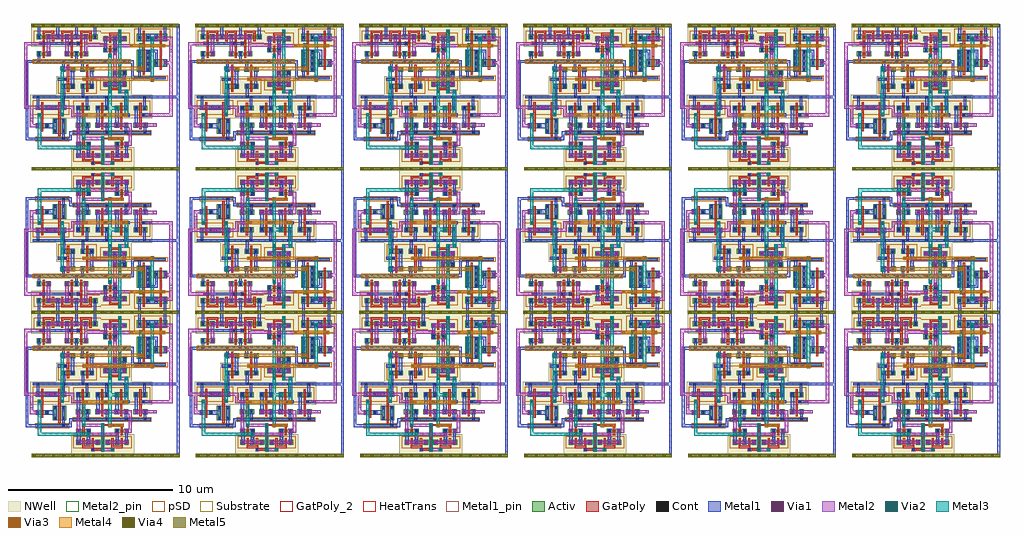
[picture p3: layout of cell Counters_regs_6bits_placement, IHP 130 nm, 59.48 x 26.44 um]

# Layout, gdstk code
from math import pi, radians
import gdstk
lib = gdstk.Library(unit=1e-6, precision=5e-09)
def R(c, l, rs):  # rectangles x0, y0, x1, y1
    for r in rs: c.add(gdstk.rectangle(r[:2], r[2:], *l))
def A(c, l, x, y, w, h, nx, ny, dx, dy):  # array of equal rectangles
    R(c, l, [(x+i*dx, y+j*dy, x+i*dx+w, y+j*dy+h) for i in range(nx) for j in range(ny)])
Activ = (1, 0)
GatPoly = (5, 0)
GatPoly_2 = (5, 2)
Cont = (6, 0)
Metal1 = (8, 0)
Metal1_pin = (8, 2)
Metal2 = (10, 0)
Metal2_pin = (10, 2)
pSD = (14, 0)
Via1 = (19, 0)
Via2 = (29, 0)
Metal3 = (30, 0)
NWell = (31, 0)
Substrate = (40, 0)
Via3 = (49, 0)
Metal4 = (50, 0)
HeatTrans = (51, 0)
Via4 = (66, 0)
Metal5 = (67, 0)

pmos_3_1 = lib.new_cell('pmos$3$1')
R(pmos_3_1, Activ, [(0,0,0.3,0.3), (0,0,0.81,0.45), (0.51,0,0.81,0.3)])
R(pmos_3_1, GatPoly, [(0.34,-0.18,0.47,0.63), (0.34,-0.18,0.47,0.63)])
R(pmos_3_1, Cont, [(0.07,0.145,0.23,0.305), (0.58,0.145,0.74,0.305)])
R(pmos_3_1, Metal1, [(0.07,0,0.23,0.45), (0.07,0,0.23,0.45), (0.58,0,0.74,0.45), (0.58,0,0.74,0.45)])
R(pmos_3_1, pSD, [(-0.18,-0.3,0.99,0.75)])
R(pmos_3_1, NWell, [(-0.31,-0.345,1.12,0.76)])
R(pmos_3_1, Substrate, [(0.51,0,0.81,0.3)])
R(pmos_3_1, HeatTrans, [(0.34,-0.18,0.47,0.63)])
pmos_3_1.add(gdstk.Label('pmos', (0.405,0.225), layer=63, texttype=0))
pmos_3_1.add(gdstk.Label('pmos', (0.405,0.225), layer=51, texttype=0))

nmos_1_1_1 = lib.new_cell('nmos$1$1$1')
R(nmos_1_1_1, Activ, [(0,0,0.3,0.3), (0,0,0.81,1.35), (0.51,0,0.81,0.3)])
R(nmos_1_1_1, GatPoly, [(0.34,-0.18,0.47,1.53)])
R(nmos_1_1_1, GatPoly_2, [(0.34,-0.18,0.47,1.53)])
A(nmos_1_1_1, Cont, 0.07, 0.07, 0.16, 0.16, 1, 4, 0, 0.35)
A(nmos_1_1_1, Cont, 0.58, 0.07, 0.16, 0.16, 1, 4, 0, 0.35)
R(nmos_1_1_1, Metal1, [(0.07,0,0.23,1.35), (0.58,0,0.74,1.35)])
R(nmos_1_1_1, Metal1_pin, [(0.07,0,0.23,1.35), (0.58,0,0.74,1.35)])
R(nmos_1_1_1, HeatTrans, [(0.34,-0.18,0.47,1.53)])
nmos_1_1_1.add(gdstk.Label('nmos', (0.405,0.675), layer=63, texttype=0))
nmos_1_1_1.add(gdstk.Label('nmos', (0.405,0.675), layer=51, texttype=0))

nmos_4_1 = lib.new_cell('nmos$4$1')
R(nmos_4_1, Activ, [(0,0,0.3,0.3), (0,0,0.81,0.45), (0.51,0,0.81,0.3)])
R(nmos_4_1, GatPoly, [(0.34,-0.18,0.47,0.63)])
R(nmos_4_1, GatPoly_2, [(0.34,-0.18,0.47,0.63)])
R(nmos_4_1, Cont, [(0.07,0.145,0.23,0.305), (0.58,0.145,0.74,0.305)])
R(nmos_4_1, Metal1, [(0.07,0,0.23,0.45), (0.58,0,0.74,0.45)])
R(nmos_4_1, Metal1_pin, [(0.07,0,0.23,0.45), (0.58,0,0.74,0.45)])
R(nmos_4_1, HeatTrans, [(0.34,-0.18,0.47,0.63)])
nmos_4_1.add(gdstk.Label('nmos', (0.405,0.225), layer=63, texttype=0))
nmos_4_1.add(gdstk.Label('nmos', (0.405,0.225), layer=51, texttype=0))

nand_d3_1 = lib.new_cell('NAND_D3$1')
R(nand_d3_1, Activ, [(-0.055,-1.08,1.805,-0.92), (0.04,2.105,1.9,2.265)])
R(nand_d3_1, GatPoly, [(1.45,0.31,1.58,1.07), (0.4,0.78,0.53,1.07), (1.58,0.865,1.78,1.065), (0.2,0.875,0.4,1.075)])
R(nand_d3_1, Cont, [(0.13,-1.08,0.29,-0.92), (1.595,0.885,1.755,1.045), (0.22,0.895,0.38,1.055), (0.13,2.105,0.29,2.265), (1.69,2.105,1.85,2.265)])
R(nand_d3_1, Metal1, [(0.13,-1.08,0.29,-0.545), (1.69,-0.21,1.89,0.09), (1.595,0.885,1.755,1.045), (0.22,0.895,0.38,1.055), (0.64,1.25,1.34,1.7), (0.13,1.55,0.29,2.265), (1.69,1.55,1.85,2.265)])
R(nand_d3_1, Metal1_pin, [(0.13,-1.08,0.29,-0.92), (1.595,0.885,1.755,1.045), (0.22,0.895,0.38,1.055), (0.13,2.105,0.29,2.265), (1.69,2.105,1.85,2.265)])
R(nand_d3_1, Metal2, [(1.69,-0.165,2.24,0.035)])
R(nand_d3_1, Metal2_pin, [(2.04,0.565,2.24,0.755)])
R(nand_d3_1, pSD, [(-0.13,-1.155,1.925,-0.855)])
R(nand_d3_1, Via1, [(1.69,-0.16,1.88,0.03), (0.89,1.315,1.08,1.505)])
R(nand_d3_1, NWell, [(-0.25,2.01,2.23,2.315)])
nand_d3_1.add(gdstk.FlexPath([(1.26,0.13),(1.26,0.635),(0.72,0.635),(0.72,0.44)], 0.16, ends="flush", simple_path=True, layer=8, datatype=0))  # Metal1
nand_d3_1.add(gdstk.FlexPath([(0.885,1.41),(2.14,1.41),(2.14,-0.165)], 0.2, ends="flush", simple_path=True, layer=10, datatype=0))  # Metal2
nand_d3_1.add(gdstk.Reference(pmos_3_1, (1.92,1.25), rotation=pi, x_reflection=True))
nand_d3_1.add(gdstk.Reference(pmos_3_1, (0.87,1.25), rotation=pi, x_reflection=True))
nand_d3_1.add(gdstk.Reference(nmos_1_1_1, (0.87,-0.635), rotation=pi, x_reflection=True))
nand_d3_1.add(gdstk.Reference(nmos_4_1, (1.92,-0.31), rotation=pi, x_reflection=True))
nand_d3_1.add(gdstk.Label('VA', (1.67,0.98), layer=8, texttype=2))
nand_d3_1.add(gdstk.Label('VB', (0.305,0.99), layer=8, texttype=2))
nand_d3_1.add(gdstk.Label('VDD', (1.715,2.225), layer=8, texttype=2))
nand_d3_1.add(gdstk.Label('VDD', (0.155,2.225), layer=8, texttype=2))
nand_d3_1.add(gdstk.Label('VSS', (0.2,-0.955), layer=8, texttype=2))
nand_d3_1.add(gdstk.Label('VOUT', (2.185,0.7), layer=10, texttype=2))
nand_d3_1.add(gdstk.Label('VB', (0.33,1), layer=8, texttype=25))
nand_d3_1.add(gdstk.Label('VA', (1.7,0.94), layer=8, texttype=25))

nmos_3_1 = lib.new_cell('nmos$3$1')
R(nmos_3_1, Activ, [(0,-0.05,0.3,0.25), (0.57,-0.05,0.87,0.25), (0,0.025,0.87,0.175)])
R(nmos_3_1, GatPoly, [(0.37,-0.155,0.5,0.585)])
R(nmos_3_1, GatPoly_2, [(0.37,-0.155,0.5,0.585)])
R(nmos_3_1, Cont, [(0.07,0.02,0.23,0.18), (0.64,0.02,0.8,0.18)])
R(nmos_3_1, Metal1, [(0.07,-0.03,0.23,0.23), (0.64,-0.03,0.8,0.23)])
R(nmos_3_1, Metal1_pin, [(0.07,-0.03,0.23,0.23), (0.64,-0.03,0.8,0.23)])
R(nmos_3_1, HeatTrans, [(0.37,-0.155,0.5,0.585)])
nmos_3_1.add(gdstk.Label('nmos', (0.435,0.1), layer=63, texttype=0))
nmos_3_1.add(gdstk.Label('nmos', (0.435,0.1), layer=51, texttype=0))

pmos_1_1 = lib.new_cell('pmos$1$1')
R(pmos_1_1, Activ, [(0,0.205,0.81,0.505), (0,0.205,0.3,0.505), (0.51,0.205,0.81,0.505)])
R(pmos_1_1, GatPoly, [(0.34,0.025,0.47,0.685), (0.34,0.025,0.47,0.685)])
R(pmos_1_1, Cont, [(0.07,0.275,0.23,0.435), (0.58,0.275,0.74,0.435)])
R(pmos_1_1, Metal1, [(0.07,0.205,0.23,0.505), (0.07,0.205,0.23,0.505), (0.58,0.205,0.74,0.505), (0.58,0.205,0.74,0.505)])
R(pmos_1_1, pSD, [(-0.18,-0.095,0.99,0.805)])
R(pmos_1_1, NWell, [(-0.31,-0.26,1.12,0.815)])
R(pmos_1_1, Substrate, [(0.51,0.205,0.81,0.505)])
R(pmos_1_1, HeatTrans, [(0.34,0.025,0.47,0.685)])
pmos_1_1.add(gdstk.Label('pmos', (0.405,0.355), layer=63, texttype=0))
pmos_1_1.add(gdstk.Label('pmos', (0.405,0.355), layer=51, texttype=0))

inv_d1_1 = lib.new_cell('INV_D1$1')
R(inv_d1_1, Activ, [(-0.63,-1.05,0.545,-0.89), (-0.61,1.125,0.55,1.285)])
R(inv_d1_1, GatPoly, [(-0.075,-0.02,0.055,0.21), (-0.275,0.02,-0.075,0.22)])
R(inv_d1_1, Cont, [(-0.375,-1.05,-0.215,-0.89), (-0.25,0.04,-0.09,0.2), (-0.345,1.125,-0.185,1.285)])
R(inv_d1_1, Metal1, [(-0.375,-1.05,-0.215,-0.635), (0.15,-0.64,0.355,0.69), (-0.255,0.035,-0.085,0.205), (-0.345,0.69,-0.185,1.285)])
R(inv_d1_1, Metal1_pin, [(-0.375,-1.05,-0.215,-0.89), (-0.345,1.125,-0.185,1.285)])
R(inv_d1_1, pSD, [(-0.67,-1.11,0.6,-0.83)])
R(inv_d1_1, NWell, [(-0.725,1,0.705,1.335)])
inv_d1_1.add(gdstk.Reference(nmos_3_1, (-0.445,-0.605)))
inv_d1_1.add(gdstk.Reference(pmos_1_1, (-0.415,0.185)))
inv_d1_1.add(gdstk.Label('VDD', (-0.215,1.26), layer=8, texttype=2))
inv_d1_1.add(gdstk.Label('VSS', (-0.26,-0.915), layer=8, texttype=2))
inv_d1_1.add(gdstk.Label('VIN', (-0.17,0.135), layer=8, texttype=25))
inv_d1_1.add(gdstk.Label('VOUT', (0.255,0.145), layer=8, texttype=25))

nmos_6 = lib.new_cell('nmos$6')
R(nmos_6, Activ, [(0,0.025,0.3,0.325), (0.57,0.025,0.87,0.325), (0,0.1,0.87,0.25)])
R(nmos_6, GatPoly, [(0.37,-0.08,0.5,0.43)])
R(nmos_6, GatPoly_2, [(0.37,-0.08,0.5,0.43)])
R(nmos_6, Cont, [(0.07,0.095,0.23,0.255), (0.64,0.095,0.8,0.255)])
R(nmos_6, Metal1, [(0.07,0.045,0.23,0.305), (0.64,0.045,0.8,0.305)])
R(nmos_6, Metal1_pin, [(0.07,0.045,0.23,0.305), (0.64,0.045,0.8,0.305)])
R(nmos_6, HeatTrans, [(0.37,-0.08,0.5,0.43)])
nmos_6.add(gdstk.Label('nmos', (0.435,0.175), layer=63, texttype=0))
nmos_6.add(gdstk.Label('nmos', (0.435,0.175), layer=51, texttype=0))

pmos_5 = lib.new_cell('pmos$5')
R(pmos_5, Activ, [(0,-0.04,0.3,0.26), (0.57,-0.04,0.87,0.26), (0,0.035,0.87,0.185)])
R(pmos_5, GatPoly, [(0.37,-0.145,0.5,0.365), (0.37,-0.145,0.5,0.365)])
R(pmos_5, Cont, [(0.07,0.03,0.23,0.19), (0.64,0.03,0.8,0.19)])
R(pmos_5, Metal1, [(0.07,-0.02,0.23,0.24), (0.07,-0.02,0.23,0.24), (0.64,-0.02,0.8,0.24), (0.64,-0.02,0.8,0.24)])
R(pmos_5, pSD, [(-0.18,-0.265,1.05,0.485)])
R(pmos_5, NWell, [(-0.31,-0.38,1.18,0.545)])
R(pmos_5, Substrate, [(0.57,-0.04,0.87,0.26)])
R(pmos_5, HeatTrans, [(0.37,-0.145,0.5,0.365)])
pmos_5.add(gdstk.Label('pmos', (0.435,0.11), layer=63, texttype=0))
pmos_5.add(gdstk.Label('pmos', (0.435,0.11), layer=51, texttype=0))

tg_2c_1 = lib.new_cell('TG_2C$1')
R(tg_2c_1, Activ, [(0.15,-0.17,1.91,-0.01), (0.03,2.005,2.035,2.165)])
R(tg_2c_1, GatPoly, [(0.64,0.15,0.84,0.35), (1.225,1.645,1.425,1.845)])
R(tg_2c_1, Cont, [(0.37,-0.17,0.53,-0.01), (0.66,0.17,0.82,0.33), (1.245,1.665,1.405,1.825), (0.36,2.005,0.52,2.165)])
R(tg_2c_1, Metal1, [(0.15,-0.17,1.91,-0.01), (0.66,0.17,0.82,0.33), (0.36,1.195,0.56,1.395), (1.5,1.195,1.7,1.395), (1.245,1.665,1.405,1.825), (0.03,2.005,2.35,2.165)])
R(tg_2c_1, Metal1_pin, [(0.355,-0.17,0.52,-0.01), (0.66,0.17,0.82,0.33), (0.95,0.97,1.11,1.125), (1.245,1.665,1.405,1.825), (0.355,2.005,0.53,2.165)])
R(tg_2c_1, Metal2, [(0.36,1.195,1.7,1.395)])
R(tg_2c_1, Metal2_pin, [(0.36,1.195,0.56,1.395)])
R(tg_2c_1, pSD, [(0.09,-0.23,1.985,0.05)])
R(tg_2c_1, Via1, [(0.365,1.2,0.555,1.39), (1.505,1.2,1.695,1.39)])
R(tg_2c_1, NWell, [(0,1.66,2.06,2.215)])
tg_2c_1.add(gdstk.FlexPath([(0.745,1.48),(0.745,1.58),(1.315,1.58),(1.315,1.48)], 0.13, ends="flush", simple_path=True, layer=5, datatype=0))  # GatPoly
tg_2c_1.add(gdstk.FlexPath([(0.46,1.425),(0.46,0.735)], 0.16, ends="flush", simple_path=True, layer=8, datatype=0))  # Metal1
tg_2c_1.add(gdstk.FlexPath([(1.03,1.425),(1.03,0.735)], 0.16, ends="flush", simple_path=True, layer=8, datatype=0))  # Metal1
tg_2c_1.add(gdstk.Reference(nmos_6, (0.31,0.43)))
tg_2c_1.add(gdstk.Reference(pmos_5, (0.31,1.185)))
tg_2c_1.add(gdstk.Reference(pmos_5, (0.88,1.185)))
tg_2c_1.add(gdstk.Label('VOUT', (1.065,1.07), layer=8, texttype=2))
tg_2c_1.add(gdstk.Label('VSS', (0.455,-0.06), layer=8, texttype=2))
tg_2c_1.add(gdstk.Label('VDD', (0.465,2.125), layer=8, texttype=2))
tg_2c_1.add(gdstk.Label('VIN', (0.505,1.36), layer=10, texttype=2))
tg_2c_1.add(gdstk.Label('VOUT', (1.065,1.015), layer=8, texttype=25))
tg_2c_1.add(gdstk.Label('VIN', (0.52,1.29), layer=10, texttype=25))

nmos_5_1 = lib.new_cell('nmos$5$1')
R(nmos_5_1, Activ, [(0,0,0.3,0.3), (0.57,0,0.87,0.3), (0,0.075,0.87,0.225)])
R(nmos_5_1, GatPoly, [(0.37,-0.105,0.5,0.58)])
R(nmos_5_1, GatPoly_2, [(0.37,-0.105,0.5,0.58)])
R(nmos_5_1, Cont, [(0.07,0.07,0.23,0.23), (0.64,0.07,0.8,0.23)])
R(nmos_5_1, Metal1, [(0.07,0.02,0.23,0.28), (0.64,0.02,0.8,0.28)])
R(nmos_5_1, Metal1_pin, [(0.07,0.02,0.23,0.28), (0.64,0.02,0.8,0.28)])
R(nmos_5_1, HeatTrans, [(0.37,-0.105,0.5,0.58)])
nmos_5_1.add(gdstk.Label('nmos', (0.435,0.15), layer=63, texttype=0))
nmos_5_1.add(gdstk.Label('nmos', (0.435,0.15), layer=51, texttype=0))

pmos_4_1 = lib.new_cell('pmos$4$1')
R(pmos_4_1, Activ, [(0,0.175,0.3,0.475), (0.57,0.175,0.87,0.475), (0,0.25,0.87,0.4)])
R(pmos_4_1, GatPoly, [(0.37,0.07,0.5,0.58), (0.37,0.07,0.5,0.58)])
R(pmos_4_1, Cont, [(0.07,0.245,0.23,0.405), (0.64,0.245,0.8,0.405)])
R(pmos_4_1, Metal1, [(0.07,0.195,0.23,0.455), (0.07,0.195,0.23,0.455), (0.64,0.195,0.8,0.455), (0.64,0.195,0.8,0.455)])
R(pmos_4_1, pSD, [(-0.18,-0.05,1.05,0.7)])
R(pmos_4_1, NWell, [(-0.31,-0.275,1.18,0.845)])
R(pmos_4_1, Substrate, [(0.57,0.175,0.87,0.475)])
R(pmos_4_1, HeatTrans, [(0.37,0.07,0.5,0.58)])
pmos_4_1.add(gdstk.Label('pmos', (0.435,0.325), layer=63, texttype=0))
pmos_4_1.add(gdstk.Label('pmos', (0.435,0.325), layer=51, texttype=0))

inv_1 = lib.new_cell('INV$1')
R(inv_1, Activ, [(-0.6,-1.01,1.235,-0.85), (-0.6,1.165,1.2,1.325)])
R(inv_1, GatPoly, [(-0.045,-0.035,0.085,0.31), (-0.045,0.82,0.655,0.95)])
R(inv_1, GatPoly_2, [(-0.045,0.105,0.085,0.255)])
R(inv_1, Cont, [(-0.345,-1.01,-0.185,-0.85), (-0.345,1.165,-0.185,1.325), (0.795,1.165,0.955,1.325)])
R(inv_1, Metal1, [(-0.345,-1.01,-0.185,-0.595), (0.205,-0.595,0.405,-0.335), (-0.345,0.435,-0.185,1.325), (0.205,0.435,0.405,0.695), (0.795,0.435,0.955,1.325)])
R(inv_1, Metal1_pin, [(-0.345,-1.01,-0.185,-0.85), (-0.345,1.165,-0.185,1.325), (0.795,1.165,0.955,1.325)])
R(inv_1, Metal2, [(0.205,-0.57,0.405,0.665)])
R(inv_1, Metal2_pin, [(0.205,0.08,0.405,0.265)])
R(inv_1, pSD, [(-0.64,-1.07,1.29,-0.79)])
R(inv_1, Via1, [(0.205,-0.56,0.395,-0.37), (0.21,0.47,0.4,0.66)])
R(inv_1, NWell, [(-0.725,1.085,1.335,1.375)])
inv_1.add(gdstk.Reference(nmos_5_1, (-0.415,-0.615)))
r = gdstk.Reference(pmos_4_1, (-0.415,0.24)); r.repetition = gdstk.Repetition(2, 1, v1=(0.57,0), v2=(0,0)); inv_1.add(r)

inv_d3_1 = lib.new_cell('INV_D3$1')
R(inv_d3_1, GatPoly, [(-1.05,0.2,-0.85,0.4), (0.66,0.2,0.86,0.4), (1.23,0.2,1.43,0.4)])
R(inv_d3_1, Cont, [(-1.15,-0.865,-0.99,-0.705), (-1.03,0.22,-0.87,0.38), (0.68,0.22,0.84,0.38), (1.25,0.22,1.41,0.38)])
R(inv_d3_1, Metal1, [(-1.03,0.22,1.41,0.38), (-1.03,0.22,-0.87,0.38), (0.68,0.22,0.84,0.38), (1.25,0.22,1.41,0.38)])
R(inv_d3_1, Metal1_pin, [(-1.15,-0.865,-0.99,-0.705), (-1.03,0.22,-0.87,0.38), (0.68,0.22,0.84,0.38), (1.25,0.22,1.41,0.38), (-1.15,1.31,-0.99,1.47)])
R(inv_d3_1, Metal2, [(-0.6,0.61,1.88,0.81)])
r = gdstk.Reference(inv_1, (-0.805,0.145)); r.repetition = gdstk.Repetition(2, 1, v1=(2.28,0), v2=(0,0)); inv_d3_1.add(r)
inv_d3_1.add(gdstk.Reference(inv_1, (0.945,0.145), rotation=pi, x_reflection=True))
inv_d3_1.add(gdstk.Label('VIN', (-0.92,0.33), layer=8, texttype=2))
inv_d3_1.add(gdstk.Label('VIN', (-0.92,0.33), layer=8, texttype=2))
inv_d3_1.add(gdstk.Label('VIN', (-0.92,0.33), layer=8, texttype=2))
inv_d3_1.add(gdstk.Label('VDD', (-1.02,1.445), layer=8, texttype=2))
inv_d3_1.add(gdstk.Label('VSS', (-1.035,-0.73), layer=8, texttype=2))
inv_d3_1.add(gdstk.Label('VOUT', (1.83,0.365), layer=10, texttype=2))

via1_constraint_1 = lib.new_cell('VIA1_constraint$1')
R(via1_constraint_1, Metal1, [(-0.005,-0.005,0.195,0.195)])
R(via1_constraint_1, Metal2, [(-0.005,-0.005,0.195,0.195)])
R(via1_constraint_1, Via1, [(0,0,0.19,0.19)])

via2_constraint_1 = lib.new_cell('VIA2_constraint$1')
R(via2_constraint_1, Metal2, [(0.04,-0.57,0.24,-0.37)])
R(via2_constraint_1, Via2, [(0.045,-0.565,0.235,-0.375)])
R(via2_constraint_1, Metal3, [(0.04,-0.57,0.24,-0.37)])

via3_constraint_1 = lib.new_cell('VIA3_constraint$1')
R(via3_constraint_1, Metal3, [(-0.005,-0.005,0.195,0.195)])
R(via3_constraint_1, Via3, [(0,0,0.19,0.19)])
R(via3_constraint_1, Metal4, [(-0.005,-0.005,0.195,0.195)])

half_b_1 = lib.new_cell('HALF_B$1')
R(half_b_1, Metal1, [(0.115,-4.325,4.09,-4.165), (6.405,-4.325,8.28,-4.165), (4.995,-3.585,5.195,-2.635), (0.105,-2.15,4.21,-1.99), (4.995,-1.505,5.195,-0.55), (5.56,-1.505,5.76,-0.555), (6.31,-1.14,8.19,-0.98), (2.8,0.025,4.09,0.185)])
R(half_b_1, Metal2, [(3.21,-3.165,4.615,-2.965), (4.985,-3.125,6.205,-2.925), (4.995,-2.715,5.195,-1.245), (3.545,-1.13,5.76,-0.93)])
R(half_b_1, Metal3, [(5.28,-4.01,5.48,-1.625), (7.255,-3.58,7.455,-0.84), (4.695,-2.53,4.895,-0.13), (4.695,-2.53,4.895,-0.13)])
R(half_b_1, Metal4, [(5.98,-3.125,8.15,-2.925), (3.145,-1.08,7.49,-0.88)])
half_b_1.add(gdstk.Reference(nand_d3_1, (6.37,-2.06), x_reflection=True))
half_b_1.add(gdstk.Reference(inv_d1_1, (3.415,-1.1)))
half_b_1.add(gdstk.Reference(tg_2c_1, (4.055,-2.16), x_reflection=True))
half_b_1.add(gdstk.Reference(tg_2c_1, (6.12,-1.98), rotation=pi, x_reflection=True))
half_b_1.add(gdstk.Reference(inv_d3_1, (1.53,-2.855), x_reflection=True))
half_b_1.add(gdstk.Reference(via1_constraint_1, (5.475,-4), rotation=pi, x_reflection=True))
half_b_1.add(gdstk.Reference(via1_constraint_1, (5.19,-2.485), rotation=pi))
half_b_1.add(gdstk.Reference(via1_constraint_1, (4.415,-3.16)))
half_b_1.add(gdstk.Reference(via1_constraint_1, (3.57,-1.125)))
half_b_1.add(gdstk.Reference(via2_constraint_1, (4.655,0.235)))
half_b_1.add(gdstk.Reference(via1_constraint_1, (5.475,-1.825), rotation=pi, x_reflection=True))
half_b_1.add(gdstk.Reference(via1_constraint_1, (4.7,-2.505)))
half_b_1.add(gdstk.Reference(via2_constraint_1, (4.655,-1.94)))
half_b_1.add(gdstk.Reference(via2_constraint_1, (4.655,0.235)))
half_b_1.add(gdstk.Reference(via1_constraint_1, (4.7,-2.505)))
half_b_1.add(gdstk.Reference(via2_constraint_1, (4.655,-1.94)))
half_b_1.add(gdstk.Reference(via2_constraint_1, (7.215,-3.01)))
half_b_1.add(gdstk.Reference(via1_constraint_1, (3.15,-1.075)))
half_b_1.add(gdstk.Reference(via2_constraint_1, (3.105,-0.51)))
half_b_1.add(gdstk.Reference(via3_constraint_1, (3.15,-1.075)))
half_b_1.add(gdstk.Reference(via3_constraint_1, (7.26,-1.07)))
half_b_1.add(gdstk.Reference(via1_constraint_1, (5.19,-1.27), rotation=pi))
half_b_1.add(gdstk.Reference(via1_constraint_1, (5.565,-1.125)))
half_b_1.add(gdstk.Reference(via1_constraint_1, (4.7,-0.33)))
half_b_1.add(gdstk.Reference(via2_constraint_1, (5.24,-1.26)))
half_b_1.add(gdstk.Reference(via2_constraint_1, (5.24,-3.435)))
half_b_1.add(gdstk.Reference(via1_constraint_1, (5,-3.12)))
half_b_1.add(gdstk.Reference(via2_constraint_1, (5.955,-2.555)))
half_b_1.add(gdstk.Reference(via3_constraint_1, (6,-3.12)))
half_b_1.add(gdstk.Reference(via1_constraint_1, (7.955,-3.12)))
half_b_1.add(gdstk.Reference(via2_constraint_1, (7.91,-2.555)))
half_b_1.add(gdstk.Reference(via3_constraint_1, (7.955,-3.12)))

pmos_2_1 = lib.new_cell('pmos$2$1')
R(pmos_2_1, Activ, [(0,0,0.81,0.3), (0,0,0.3,0.3), (0.51,0,0.81,0.3)])
R(pmos_2_1, GatPoly, [(0.34,-0.18,0.47,0.48), (0.34,-0.18,0.47,0.48)])
R(pmos_2_1, Cont, [(0.07,0.07,0.23,0.23), (0.58,0.07,0.74,0.23)])
R(pmos_2_1, Metal1, [(0.07,0,0.23,0.3), (0.07,0,0.23,0.3), (0.58,0,0.74,0.3), (0.58,0,0.74,0.3)])
R(pmos_2_1, pSD, [(-0.18,-0.3,0.99,0.6)])
R(pmos_2_1, NWell, [(-0.31,-0.31,1.12,0.61)])
R(pmos_2_1, Substrate, [(0.51,0,0.81,0.3)])
R(pmos_2_1, HeatTrans, [(0.34,-0.18,0.47,0.48)])
pmos_2_1.add(gdstk.Label('pmos', (0.405,0.15), layer=63, texttype=0))
pmos_2_1.add(gdstk.Label('pmos', (0.405,0.15), layer=51, texttype=0))

nmos_1_2 = lib.new_cell('nmos$1$2')
R(nmos_1_2, Activ, [(0,0,0.81,0.9), (0,0,0.3,0.3), (0.51,0,0.81,0.3)])
R(nmos_1_2, GatPoly, [(0.34,-0.18,0.47,1.08)])
R(nmos_1_2, GatPoly_2, [(0.34,-0.18,0.47,1.08)])
R(nmos_1_2, Cont, [(0.07,0.07,0.23,0.23), (0.58,0.07,0.74,0.23), (0.07,0.67,0.23,0.83), (0.58,0.67,0.74,0.83)])
R(nmos_1_2, Metal1, [(0.07,0,0.23,0.9), (0.58,0,0.74,0.9)])
R(nmos_1_2, Metal1_pin, [(0.07,0,0.23,0.9), (0.58,0,0.74,0.9)])
R(nmos_1_2, HeatTrans, [(0.34,-0.18,0.47,1.08)])
nmos_1_2.add(gdstk.Label('nmos', (0.405,0.45), layer=63, texttype=0))
nmos_1_2.add(gdstk.Label('nmos', (0.405,0.45), layer=51, texttype=0))

nmos_2_1 = lib.new_cell('nmos$2$1')
R(nmos_2_1, Activ, [(0,0,0.81,0.3), (0,0,0.3,0.3), (0.51,0,0.81,0.3)])
R(nmos_2_1, GatPoly, [(0.34,-0.18,0.47,0.48)])
R(nmos_2_1, GatPoly_2, [(0.34,-0.18,0.47,0.48)])
R(nmos_2_1, Cont, [(0.07,0.07,0.23,0.23), (0.58,0.07,0.74,0.23)])
R(nmos_2_1, Metal1, [(0.07,0,0.23,0.3), (0.58,0,0.74,0.3)])
R(nmos_2_1, Metal1_pin, [(0.07,0,0.23,0.3), (0.58,0,0.74,0.3)])
R(nmos_2_1, HeatTrans, [(0.34,-0.18,0.47,0.48)])
nmos_2_1.add(gdstk.Label('nmos', (0.405,0.15), layer=63, texttype=0))
nmos_2_1.add(gdstk.Label('nmos', (0.405,0.15), layer=51, texttype=0))

nand_d2_1 = lib.new_cell('NAND_D2$1')
R(nand_d2_1, Activ, [(-0.055,-0.595,1.805,-0.435), (0.04,1.955,1.9,2.115)])
R(nand_d2_1, GatPoly, [(1.45,0.44,1.58,1.07), (0.4,0.78,0.53,1.07), (1.58,0.865,1.78,1.065), (0.2,0.875,0.4,1.075)])
R(nand_d2_1, Cont, [(0.13,-0.595,0.29,-0.435), (1.595,0.885,1.755,1.045), (0.22,0.895,0.38,1.055), (0.13,1.955,0.29,2.115), (1.69,1.955,1.85,2.115)])
R(nand_d2_1, Metal1, [(-0.055,-0.595,1.805,-0.435), (0.13,-0.595,0.29,-0.185), (0.64,0.14,1.34,0.44), (1.69,0.14,1.89,0.44), (1.595,0.885,1.755,1.045), (0.22,0.895,0.38,1.055), (0.64,1.25,1.34,1.55), (0.13,1.55,0.29,2.115), (1.69,1.55,1.85,2.115)])
R(nand_d2_1, Metal1_pin, [(0.13,-0.595,0.29,-0.435), (1.595,0.885,1.755,1.045), (0.22,0.895,0.38,1.055), (0.13,1.955,0.29,2.115), (1.69,1.955,1.85,2.115)])
R(nand_d2_1, Metal2, [(1.69,0.185,2.27,0.385)])
R(nand_d2_1, Metal2_pin, [(2.07,0.57,2.27,0.76)])
R(nand_d2_1, pSD, [(-0.13,-0.67,1.925,-0.37)])
R(nand_d2_1, Via1, [(1.69,0.19,1.88,0.38), (0.89,1.315,1.08,1.505)])
R(nand_d2_1, NWell, [(-0.25,1.86,2.23,2.165)])
nand_d2_1.add(gdstk.FlexPath([(0.885,1.41),(2.17,1.41),(2.17,0.185)], 0.2, ends="flush", simple_path=True, layer=10, datatype=0))  # Metal2
nand_d2_1.add(gdstk.Reference(pmos_2_1, (1.92,1.25), rotation=pi, x_reflection=True))
nand_d2_1.add(gdstk.Reference(pmos_2_1, (0.87,1.25), rotation=pi, x_reflection=True))
nand_d2_1.add(gdstk.Reference(nmos_1_2, (0.87,-0.185), rotation=pi, x_reflection=True))
nand_d2_1.add(gdstk.Reference(nmos_2_1, (1.92,0.14), rotation=pi, x_reflection=True))
nand_d2_1.add(gdstk.Label('VA', (1.665,1.02), layer=8, texttype=2))
nand_d2_1.add(gdstk.Label('VB', (0.32,0.99), layer=8, texttype=2))
nand_d2_1.add(gdstk.Label('VDD', (1.715,2.075), layer=8, texttype=2))
nand_d2_1.add(gdstk.Label('VDD', (0.155,2.075), layer=8, texttype=2))
nand_d2_1.add(gdstk.Label('VSS', (0.2,-0.47), layer=8, texttype=2))
nand_d2_1.add(gdstk.Label('VOUT', (2.215,0.705), layer=10, texttype=2))
nand_d2_1.add(gdstk.Label('VA', (1.67,0.9), layer=8, texttype=25))
nand_d2_1.add(gdstk.Label('VB', (0.28,0.92), layer=8, texttype=25))

half_a_1 = lib.new_cell('HALF_A$1')
R(half_a_1, Metal1, [(7.845,4.825,8.045,5.775), (9.605,4.825,9.805,5.775), (10.19,4.825,10.405,5.775), (7.045,6.26,10.655,6.42), (8.315,7.33,8.79,7.53), (8.26,8.435,12.915,8.595)])
R(half_a_1, Metal2, [(8.14,4.4,8.935,4.6), (7.845,5.345,9.805,5.545), (10.205,5.52,10.41,6.925), (8.735,5.9,10.095,6.1), (9.74,7.33,10.76,7.53), (10.56,7.33,10.76,7.99), (10.56,7.79,11.895,7.99)])
R(half_a_1, Metal3, [(8.735,4.4,8.935,6.12), (9.605,5.345,12.79,5.545), (12.59,5.345,12.79,7.545)])
half_a_1.add(gdstk.FlexPath([(7.755,6),(8.835,6),(8.83,4.505),(9.325,4.505)], 0.1, ends="flush", simple_path=True, layer=5, datatype=0))  # GatPoly
half_a_1.add(gdstk.FlexPath([(7.155,5.545),(7.155,6.815),(9.235,6.815)], 0.2, ends="flush", simple_path=True, layer=10, datatype=0))  # Metal2
half_a_1.add(gdstk.Reference(inv_d1_1, (8.88,7.31)))
half_a_1.add(gdstk.Reference(tg_2c_1, (6.93,6.25), x_reflection=True))
half_a_1.add(gdstk.Reference(tg_2c_1, (10.75,6.25), rotation=pi))
half_a_1.add(gdstk.Reference(nand_d2_1, (11.01,6.48)))
half_a_1.add(gdstk.Reference(via1_constraint_1, (9.61,5.54), x_reflection=True))
half_a_1.add(gdstk.Reference(via1_constraint_1, (8.16,4.595), x_reflection=True))
half_a_1.add(gdstk.Reference(via1_constraint_1, (9.915,6.095), x_reflection=True))
half_a_1.add(gdstk.Reference(via2_constraint_1, (8.69,4.025), x_reflection=True))
half_a_1.add(gdstk.Reference(via2_constraint_1, (8.695,5.53), x_reflection=True))
half_a_1.add(gdstk.Reference(via1_constraint_1, (7.85,5.54), x_reflection=True))
half_a_1.add(gdstk.Reference(via1_constraint_1, (9.035,6.91), x_reflection=True))
half_a_1.add(gdstk.Reference(via1_constraint_1, (7.29,5.55)))
half_a_1.add(gdstk.Reference(via1_constraint_1, (9.745,7.335)))
half_a_1.add(gdstk.Reference(inv_d1_1, (10.055,7.31)))
half_a_1.add(gdstk.Reference(via1_constraint_1, (10.215,6.48)))
half_a_1.add(gdstk.Reference(via1_constraint_1, (10.205,5.555)))
half_a_1.add(gdstk.Reference(via2_constraint_1, (9.565,5.915)))
half_a_1.add(gdstk.Reference(via2_constraint_1, (12.55,7.915)))
half_a_1.add(gdstk.Reference(via1_constraint_1, (12.595,7.35)))

ff_d_placement_1 = lib.new_cell('FF_D_placement$1')
ff_d_placement_1.add(gdstk.Reference(half_b_1, (6.22,0.005), x_reflection=True))
ff_d_placement_1.add(gdstk.Reference(inv_d1_1, (8.46,1.105), x_reflection=True))
ff_d_placement_1.add(gdstk.Reference(inv_d1_1, (11.685,-1.305), rotation=pi, x_reflection=True))
ff_d_placement_1.add(gdstk.Reference(half_a_1, (19.4,-8.615), rotation=pi, x_reflection=True))
ff_d_placement_1.add(gdstk.Reference(inv_d1_1, (12.855,-1.305), rotation=pi, x_reflection=True))

ff_d_routed_1 = lib.new_cell('FF_D_routed$1')
R(ff_d_routed_1, Activ, [(6.315,-0.18,12.31,-0.02), (6.335,4.17,14.615,4.33)])
R(ff_d_routed_1, Metal1, [(12.355,-2.355,13.53,-2.195), (11.76,-1.285,12.215,-1.085), (12.945,-1.285,13.565,-1.085), (11.775,-1.265,12.21,-1.105), (6.3,-0.18,13.455,-0.02), (6.335,4.17,14.82,4.33)])
R(ff_d_routed_1, Metal2, [(11.915,-3.07,12.345,-2.87), (12.5,-1.9,13.845,-1.7), (13.365,-1.285,14.83,-1.085), (14.63,-1.285,14.83,2.1), (5.765,-0.825,6.7,-0.625), (5.77,-0.825,5.97,3.255), (11.5,0.135,12.105,0.335), (7.97,1.545,8.815,1.745), (5.77,3.055,6.9,3.255)])
R(ff_d_routed_1, Metal3, [(10.915,-2.735,11.115,-0.665), (9.29,-2.715,9.49,-1.085), (11.905,-1.31,12.105,0.33), (7.99,-1.26,8.19,1.79), (11.5,0.135,11.7,1.63)])
R(ff_d_routed_1, Metal4, [(10.9,-2.715,11.83,-2.515), (9.29,-1.295,12.1,-1.095), (8.615,1.54,12.995,1.75)])
ff_d_routed_1.add(gdstk.FlexPath([(8.445,-2.65),(8.605,-2.65),(8.605,-2.275),(8.755,-2.275)], 0.16, ends="flush", simple_path=True, layer=8, datatype=0))  # Metal1
ff_d_routed_1.add(gdstk.FlexPath([(12.53,1.065),(12.375,1.065),(12.375,2.075),(12.17,2.075)], 0.16, ends="flush", simple_path=True, layer=8, datatype=0))  # Metal1
ff_d_routed_1.add(gdstk.FlexPath([(12.89,1.49),(12.89,3.18)], 0.2, ends="flush", simple_path=True, layer=30, datatype=0))  # Metal3
ff_d_routed_1.add(gdstk.FlexPath([(11.015,0.135),(11.015,-0.765),(11.53,-0.765)], 0.2, ends="flush", simple_path=True, layer=30, datatype=0))  # Metal3
ff_d_routed_1.add(gdstk.Reference(ff_d_placement_1, (0,0)))
ff_d_routed_1.add(gdstk.Reference(via1_constraint_1, (6.705,3.06)))
ff_d_routed_1.add(gdstk.Reference(via1_constraint_1, (13.56,-1.28), rotation=pi, x_reflection=True))
ff_d_routed_1.add(gdstk.Reference(via1_constraint_1, (12.505,-1.895)))
ff_d_routed_1.add(gdstk.Reference(via1_constraint_1, (8.62,1.55)))
ff_d_routed_1.add(gdstk.Reference(via2_constraint_1, (8.575,2.115)))
ff_d_routed_1.add(gdstk.Reference(via3_constraint_1, (8.62,1.55)))
ff_d_routed_1.add(gdstk.Reference(via1_constraint_1, (12.795,2.945)))
ff_d_routed_1.add(gdstk.Reference(via3_constraint_1, (12.795,1.55)))
ff_d_routed_1.add(gdstk.Reference(via2_constraint_1, (12.75,3.51)))
ff_d_routed_1.add(gdstk.Reference(via1_constraint_1, (7.995,-1.255)))
ff_d_routed_1.add(gdstk.Reference(via2_constraint_1, (7.95,-0.69)))
ff_d_routed_1.add(gdstk.Reference(via2_constraint_1, (7.95,2.115)))
ff_d_routed_1.add(gdstk.Reference(via2_constraint_1, (11.29,-0.295)))
ff_d_routed_1.add(gdstk.Reference(via1_constraint_1, (11.335,-0.86)))
ff_d_routed_1.add(gdstk.Reference(via1_constraint_1, (11.91,-1.28)))
ff_d_routed_1.add(gdstk.Reference(via2_constraint_1, (11.865,-0.715)))
ff_d_routed_1.add(gdstk.Reference(via2_constraint_1, (11.865,0.705)))
ff_d_routed_1.add(gdstk.Reference(via2_constraint_1, (11.46,0.705)))
ff_d_routed_1.add(gdstk.Reference(via2_constraint_1, (11.59,-2.145)))
ff_d_routed_1.add(gdstk.Reference(via1_constraint_1, (11.635,-2.71)))
ff_d_routed_1.add(gdstk.Reference(via3_constraint_1, (9.295,-1.29)))
ff_d_routed_1.add(gdstk.Reference(via2_constraint_1, (11.005,-3.645)))
ff_d_routed_1.add(gdstk.Reference(via2_constraint_1, (9.25,-2.145)))
ff_d_routed_1.add(gdstk.Reference(via3_constraint_1, (11.905,-1.29)))
ff_d_routed_1.add(gdstk.Reference(via3_constraint_1, (10.92,-2.71)))
ff_d_routed_1.add(gdstk.Reference(via3_constraint_1, (11.635,-2.71)))

via4_constraint_1 = lib.new_cell('VIA4_constraint$1')
R(via4_constraint_1, Metal4, [(0,0,0.2,0.2)])
R(via4_constraint_1, Via4, [(0.005,0.005,0.195,0.195)])
R(via4_constraint_1, Metal5, [(0,0,0.2,0.2)])

power_rail_wide_1 = lib.new_cell('Power_Rail_Wide$1')
R(power_rail_wide_1, Metal1, [(0,0,1.8,0.2)])
R(power_rail_wide_1, Metal2, [(0,0,1.805,0.2)])
R(power_rail_wide_1, Metal3, [(0,0,1.805,0.2)])
R(power_rail_wide_1, Metal4, [(0,0,1.805,0.2)])
R(power_rail_wide_1, Metal5, [(0,0,1.805,0.2)])
r = gdstk.Reference(via1_constraint_1, (0.035,0.005)); r.repetition = gdstk.Repetition(3, 1, v1=(0.6,0), v2=(0,0)); power_rail_wide_1.add(r)
r = gdstk.Reference(via1_constraint_1, (0.035,0.005)); r.repetition = gdstk.Repetition(3, 1, v1=(0.6,0), v2=(0,0)); power_rail_wide_1.add(r)
r = gdstk.Reference(via2_constraint_1, (0.285,0.57)); r.repetition = gdstk.Repetition(3, 1, v1=(0.6,0), v2=(0,0)); power_rail_wide_1.add(r)
r = gdstk.Reference(via3_constraint_1, (0.035,0.005)); r.repetition = gdstk.Repetition(3, 1, v1=(0.6,0), v2=(0,0)); power_rail_wide_1.add(r)
r = gdstk.Reference(via4_constraint_1, (0.03,0)); r.repetition = gdstk.Repetition(3, 1, v1=(0.6,0), v2=(0,0)); power_rail_wide_1.add(r)

ff_d_1 = lib.new_cell('FF_D$1')
R(ff_d_1, Metal1, [(9.325,0.01,9.485,8.91), (0.1,1.85,0.85,2.01), (0.1,1.85,0.265,6.735), (4.845,3.295,5.32,3.495), (5.995,3.295,6.45,3.495), (7.655,4.41,9.485,4.56), (2.065,5.465,2.62,5.665), (0.1,6.575,0.615,6.735), (9.05,8.75,9.485,8.91)])
R(ff_d_1, Metal1_pin, [(5.13,3.295,5.32,3.495), (6.265,3.295,6.45,3.495), (2.065,5.465,2.265,5.665), (0.1,6.56,0.265,6.735), (9.325,8.75,9.485,8.91)])
R(ff_d_1, Metal2_pin, [(7.88,2.68,8.08,2.88)])
R(ff_d_1, NWell, [(0.395,3.2,7.815,4.61), (0.455,7.55,9.055,8.96)])
R(ff_d_1, Metal4, [(0.54,6.505,6.495,6.795)])
ff_d_1.add(gdstk.Reference(ff_d_routed_1, (-5.765,4.58)))
r = gdstk.Reference(power_rail_wide_1, (0.48,0.01)); r.repetition = gdstk.Repetition(5, 1, v1=(1.8,0), v2=(0,0)); ff_d_1.add(r)
r = gdstk.Reference(power_rail_wide_1, (0.44,8.75)); r.repetition = gdstk.Repetition(5, 1, v1=(1.8,0), v2=(0,0)); ff_d_1.add(r)
ff_d_1.add(gdstk.Label('VCLK', (6.43,3.485), layer=8, texttype=0))
ff_d_1.add(gdstk.Label('VSS', (0.22,6.685), layer=8, texttype=2))
ff_d_1.add(gdstk.Label('VDD', (9.435,8.855), layer=8, texttype=2))
ff_d_1.add(gdstk.Label('VRESET', (2.085,5.65), layer=8, texttype=2))
ff_d_1.add(gdstk.Label('VD', (5.145,3.48), layer=8, texttype=2))
ff_d_1.add(gdstk.Label('VQN', (8.035,2.84), layer=10, texttype=2))
ff_d_1.add(gdstk.Label('VRESET', (2.195,5.615), layer=8, texttype=25))
ff_d_1.add(gdstk.Label('VD', (5.2,3.415), layer=8, texttype=25))
ff_d_1.add(gdstk.Label('VCLK', (6.375,3.35), layer=8, texttype=25))

ff_d__track__1 = lib.new_cell('FF_D$(Track)$1')
ff_d__track__1.add(gdstk.Reference(ff_d_1, (0,0)))

counters_regs_6bits_plac = lib.new_cell('Counters_regs_6bits_placement')
r = gdstk.Reference(ff_d__track__1, (-0.475,0.475)); r.repetition = gdstk.Repetition(6, 2, v1=(10,0), v2=(0,17.48)); counters_regs_6bits_plac.add(r)
r = gdstk.Reference(ff_d__track__1, (-0.475,18.175), x_reflection=True); r.repetition = gdstk.Repetition(6, 1, v1=(10,0), v2=(0,0)); counters_regs_6bits_plac.add(r)

lib.write_gds('Counters_regs_6bits_placement.gds')
